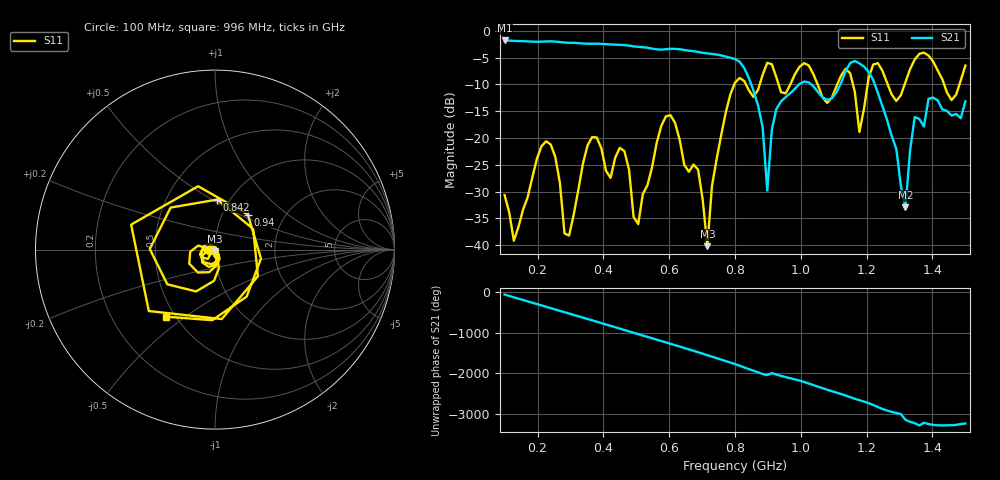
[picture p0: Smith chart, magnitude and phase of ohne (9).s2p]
! NanoVNA-App
! Date: 2025-09-25 14:20:52
! Start: 100MHz Stop: 1,5GHz Points: 101
! S-Parameter data: F S11 S21 S12 S22
# Hz S RI R 50
!  Frequency  S11_Real  S11_Imag  S21_Real  S21_Imag  S12_Real  S12_Imag  S22_Real  S22_Imag
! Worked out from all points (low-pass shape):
!   101 points, 100 MHz to 1.5 GHz, reference 50 ohm
!   highest |S21| = -1.79 dB at 100 MHz (marker M1); lowest = -32.9 dB at 1.318 GHz (marker M2)
!   |S21| within 3 dB of the highest: start of sweep to 771.4 MHz
!   lowest |S11| = -40.2 dB at 716 MHz (marker M3), VSWR 1.02, Z = 49.8 - j0.952 ohm
!   |S11| at or under -10 dB: start of sweep to 797.9 MHz; 833.2 MHz to 875.1 MHz (41.84 MHz wide, 4.9 % of centre); 1.051 GHz to 1.111 GHz (59.56 MHz wide, 5.51 % of centre) (the widest 3 of 7)
!   S12 and S22 are empty: the file has one direction only
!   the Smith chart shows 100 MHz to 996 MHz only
!   S11 on the Smith chart (normalised r, x): 100 MHz: 0.94, -0.01; 842 MHz: 0.88, +0.53; 940 MHz: 1.32, +0.55; 996 MHz: 0.45, -0.43
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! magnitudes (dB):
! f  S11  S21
! 100 MHz  -30.6  -1.8
! 128 MHz  -39.2  -1.9
! 226 MHz  -20.6  -2.0
! 296 MHz  -38.2  -2.2
! 338 MHz  -24.8  -2.4
! 464 MHz  -22.4  -2.7
! 506 MHz  -36.1  -3.0
! 576 MHz  -17.7  -3.5
! 688 MHz  -25.9  -3.9
! 716 MHz  -40.2  -4.2
! 800 MHz  -9.7  -5.3
! 842 MHz  -11.1  -8.8
! 898 MHz  -6.0  -29.8
! 940 MHz  -11.5  -13.1
! 996 MHz  -6.7  -9.9
! 1.038 GHz  -8.1  -10.3
! 1.178 GHz  -18.9  -6.1
! 1.22 GHz  -6.3  -9.2
! 1.276 GHz  -11.9  -19.6
! 1.318 GHz  -9.6  -32.9
! 1.346 GHz  -5.4  -16.1
! 1.5 GHz  -6.5  -13.1
